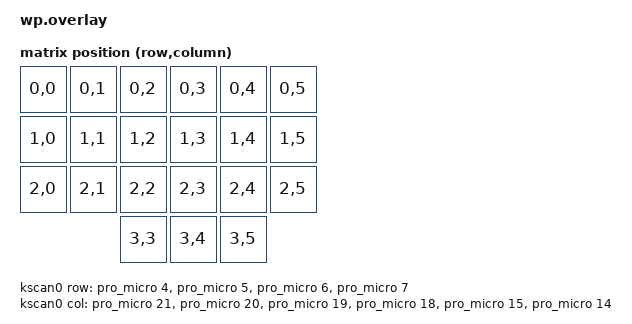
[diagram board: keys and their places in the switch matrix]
/*
 * WP
 * Standalone left-half Corne
 * nice!nano / Pro Micro compatible
 */

#include <dt-bindings/zmk/matrix_transform.h>

/ {
    chosen {
        zmk,kscan = &kscan0;
        zmk,physical-layout = &physical_layout0;
    };

    /*
     * Physical switch matrix:
     *
     *    C0   C1   C2   C3   C4   C5
     *
     * R0  0    1    2    3    4    5
     * R1  6    7    8    9   10   11
     * R2 12   13   14   15   16   17
     *                   18   19   20
     */

    default_transform: keymap_transform0 {
        compatible = "zmk,matrix-transform";

        rows = <4>;
        columns = <6>;

        map = <
            RC(0,0) RC(0,1) RC(0,2) RC(0,3) RC(0,4) RC(0,5)
            RC(1,0) RC(1,1) RC(1,2) RC(1,3) RC(1,4) RC(1,5)
            RC(2,0) RC(2,1) RC(2,2) RC(2,3) RC(2,4) RC(2,5)

                              RC(3,3) RC(3,4) RC(3,5)
        >;
    };


    /*
     * Corne LEFT matrix wiring
     */

    kscan0: kscan0 {
        compatible = "zmk,kscan-gpio-matrix";
        wakeup-source;

        diode-direction = "col2row";

        row-gpios =
            <&pro_micro 4 (GPIO_ACTIVE_HIGH | GPIO_PULL_DOWN)>,
            <&pro_micro 5 (GPIO_ACTIVE_HIGH | GPIO_PULL_DOWN)>,
            <&pro_micro 6 (GPIO_ACTIVE_HIGH | GPIO_PULL_DOWN)>,
            <&pro_micro 7 (GPIO_ACTIVE_HIGH | GPIO_PULL_DOWN)>;

        col-gpios =
            <&pro_micro 21 GPIO_ACTIVE_HIGH>,
            <&pro_micro 20 GPIO_ACTIVE_HIGH>,
            <&pro_micro 19 GPIO_ACTIVE_HIGH>,
            <&pro_micro 18 GPIO_ACTIVE_HIGH>,
            <&pro_micro 15 GPIO_ACTIVE_HIGH>,
            <&pro_micro 14 GPIO_ACTIVE_HIGH>;
    };


    /*
     * Basic ZMK physical layout.
     *
     * We can add exact physical key coordinates later
     * if you want full ZMK Studio visualization.
     */

    physical_layout0: physical_layout_0 {
        compatible = "zmk,physical-layout";
        display-name = "WP";
        transform = <&default_transform>;
    };
};
